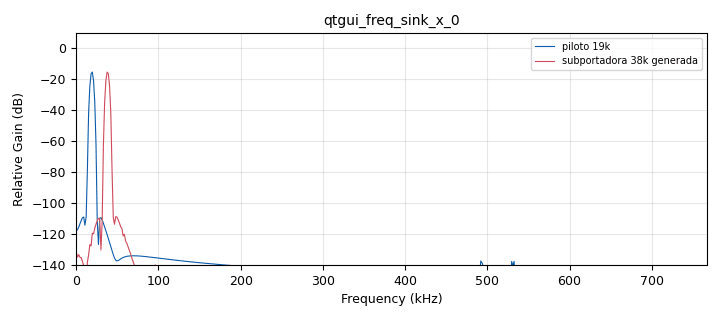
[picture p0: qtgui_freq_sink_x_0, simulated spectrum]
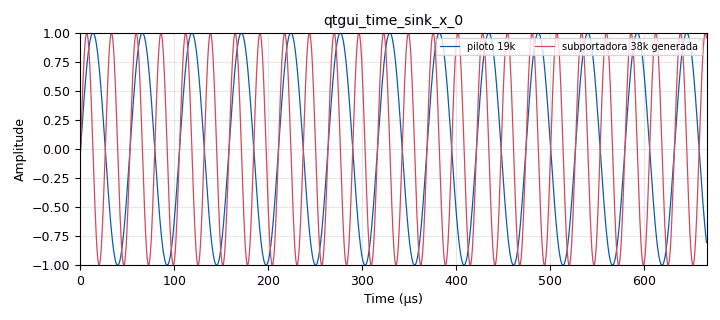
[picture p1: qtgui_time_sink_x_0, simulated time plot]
options:
  parameters:
    generate_options: qt_gui
    id: top_block
    output_language: python
  states: {}

blocks:
- name: fcia
  id: variable_qtgui_range
  parameters:
    label: fcia
    start: 18e3
    step: '100'
    stop: 20e3
    value: 19e3
  states: {}
- name: samp_rate
  id: variable
  parameters:
    value: 1.536e6
  states: {}
- name: variable_0
  id: variable
  parameters:
    value: np.cos(np.pi)
  states: {}
- name: analog_pll_refout_cc_0
  id: analog_pll_refout_cc
  parameters:
    max_freq: 2 *np.pi* 19200 / samp_rate
    min_freq: 2 * np.pi* 18800 / samp_rate
    w: '0.001'
  states: {}
- name: analog_sig_source_x_0
  id: analog_sig_source_x
  parameters:
    amp: '1'
    freq: fcia
    offset: '0'
    phase: '0'
    samp_rate: samp_rate
    type: complex
    waveform: analog.GR_COS_WAVE
  states: {}
- name: blocks_complex_to_imag_0
  id: blocks_complex_to_imag
  parameters: {}
  states: {}
- name: blocks_complex_to_imag_1
  id: blocks_complex_to_imag
  parameters: {}
  states: {}
- name: blocks_multiply_xx_0
  id: blocks_multiply_xx
  parameters:
    type: complex
  states: {}
- name: blocks_throttle2_0
  id: blocks_throttle2
  parameters:
    samples_per_second: samp_rate
    type: complex
  states: {}
- name: import_0
  id: import
  parameters:
    imports: import numpy as np
  states: {}
- name: qtgui_freq_sink_x_0
  id: qtgui_freq_sink_x
  parameters:
    bw: samp_rate
    fc: '0'
    fftsize: '1024'
    freqhalf: 'False'
    label1: piloto 19k
    label2: subportadora 38k generada
    nconnections: '2'
    showports: 'True'
    type: float
  states: {}
- name: qtgui_time_sink_x_0
  id: qtgui_time_sink_x
  parameters:
    label1: piloto 19k
    label2: subportadora 38k generada
    nconnections: '2'
    size: '1024'
    srate: samp_rate
    tr_mode: qtgui.TRIG_MODE_AUTO
    type: float
  states: {}

connections:
- [analog_pll_refout_cc_0, '0', blocks_multiply_xx_0, '0']
- [analog_pll_refout_cc_0, '0', blocks_multiply_xx_0, '1']
- [analog_sig_source_x_0, '0', blocks_throttle2_0, '0']
- [blocks_complex_to_imag_0, '0', qtgui_freq_sink_x_0, '1']
- [blocks_complex_to_imag_0, '0', qtgui_time_sink_x_0, '1']
- [blocks_complex_to_imag_1, '0', qtgui_freq_sink_x_0, '0']
- [blocks_complex_to_imag_1, '0', qtgui_time_sink_x_0, '0']
- [blocks_multiply_xx_0, '0', blocks_complex_to_imag_0, '0']
- [blocks_throttle2_0, '0', analog_pll_refout_cc_0, '0']
- [blocks_throttle2_0, '0', blocks_complex_to_imag_1, '0']

metadata:
  file_format: 1
  grc_version: 3.10.12.0
